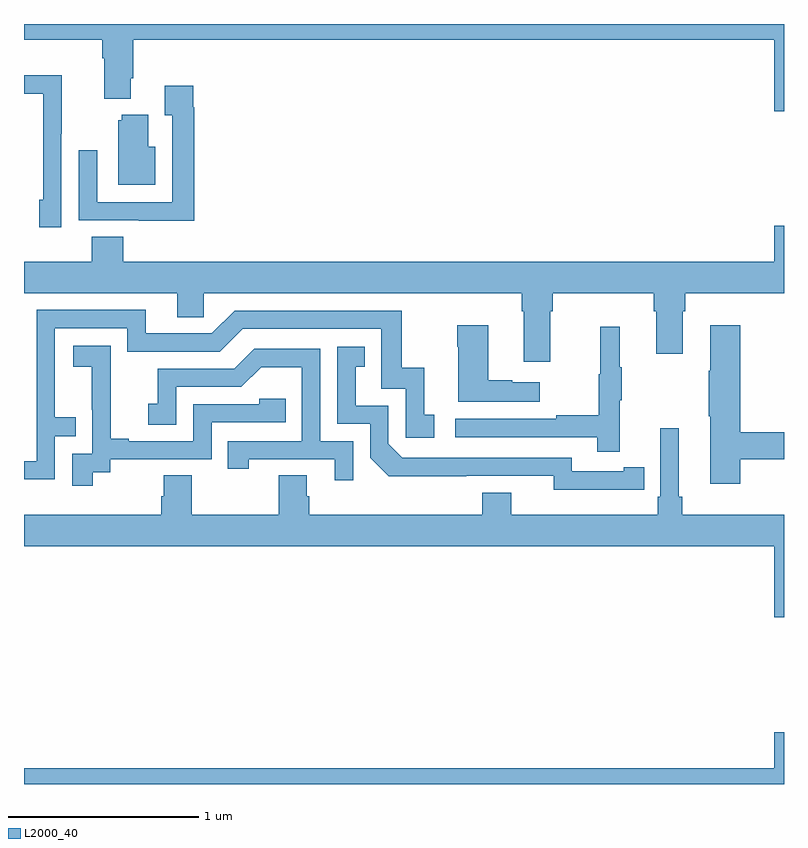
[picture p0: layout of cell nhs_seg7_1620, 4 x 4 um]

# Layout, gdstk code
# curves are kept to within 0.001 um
import gdstk
lib = gdstk.Library(unit=1e-6, precision=1e-09)
def P(c, l, *ps):  # polygons
    for p in ps: c.add(gdstk.Polygon(p, *l))
L2000_40 = (2000, 40)

nhs_seg7_1620 = lib.new_cell('nhs_seg7_1620')
P(nhs_seg7_1620, L2000_40, [(225,1034),(221,1034),(221,1033.916),(221.411,1033.916),(221.411,1033.82),(221.423,1033.82),(221.423,1033.607),(221.563,1033.607),(221.563,1033.714),(221.576,1033.714),(221.576,1033.916),(224.948,1033.916),(224.948,1033.542),(225,1033.542)],
  [(221.196,1033.423),(221.199,1033.423),(221.199,1033.73),(221,1033.73),(221,1033.632),(221.1,1033.632),(221.1,1033.074),(221.081,1033.074),(221.081,1032.93),(221.196,1032.93)],
  [(221.897,1033.562),(221.89,1033.562),(221.89,1033.675),(221.741,1033.675),(221.741,1033.519),(221.781,1033.519),(221.781,1033.062),(221.385,1033.062),(221.385,1033.336),(221.289,1033.336),(221.289,1032.966),(221.605,1032.966),(221.605,1032.965),(221.897,1032.965)],
  [(221.692,1033.354),(221.653,1033.354),(221.653,1033.522),(221.514,1033.522),(221.514,1033.494),(221.495,1033.494),(221.495,1033.154),(221.692,1033.154)],
  [(223.771,1032.488),(223.784,1032.488),(223.784,1032.584),(224.315,1032.584),(224.315,1032.488),(224.327,1032.488),(224.327,1032.264),(224.467,1032.264),(224.467,1032.488),(224.48,1032.488),(224.48,1032.584),(225,1032.584),(225,1032.937),(224.948,1032.937),(224.948,1032.748),(221.522,1032.748),(221.522,1032.881),(221.357,1032.881),(221.357,1032.748),(221,1032.748),(221,1032.584),(221.807,1032.584),(221.807,1032.457),(221.946,1032.457),(221.946,1032.584),(223.619,1032.584),(223.619,1032.488),(223.631,1032.488),(223.631,1032.222),(223.771,1032.222)],
  [(221.163,1031.829),(221.273,1031.829),(221.273,1031.93),(221.163,1031.93),(221.163,1032.399),(221.544,1032.399),(221.544,1032.276),(222.03,1032.276),(222.15,1032.396),(222.879,1032.396),(222.879,1032.081),(223.008,1032.081),(223.008,1031.823),(223.159,1031.823),(223.159,1031.943),(223.106,1031.943),(223.106,1032.19),(222.988,1032.19),(222.988,1032.492),(222.108,1032.492),(221.988,1032.372),(221.641,1032.372),(221.641,1032.495),(221.067,1032.495),(221.067,1031.7),(221,1031.7),(221,1031.604),(221.163,1031.604)],
  [(224.771,1031.71),(225,1031.71),(225,1031.852),(224.771,1031.852),(224.771,1032.415),(224.612,1032.415),(224.612,1032.176),(224.605,1032.176),(224.605,1031.935),(224.612,1031.935),(224.612,1031.58),(224.771,1031.58)],
  [(223.714,1032.115),(223.571,1032.115),(223.571,1032.125),(223.444,1032.125),(223.444,1032.415),(223.279,1032.415),(223.279,1032.302),(223.286,1032.302),(223.286,1032.011),(223.714,1032.011)],
  [(224.135,1032.019),(224.146,1032.019),(224.146,1032.193),(224.135,1032.193),(224.135,1032.406),(224.032,1032.406),(224.032,1032.156),(224.025,1032.156),(224.025,1031.942),(223.801,1031.942),(223.801,1031.922),(223.269,1031.922),(223.269,1031.826),(224.017,1031.826),(224.017,1031.748),(224.135,1031.748)],
  [(221.362,1031.641),(221.454,1031.641),(221.454,1031.709),(221.988,1031.709),(221.988,1031.904),(222.377,1031.904),(222.377,1032.027),(222.237,1032.027),(222.237,1032),(221.892,1032),(221.892,1031.805),(221.551,1031.805),(221.551,1031.818),(221.456,1031.818),(221.456,1032.101),(221.457,1032.101),(221.457,1032.307),(221.259,1032.307),(221.259,1032.197),(221.357,1032.197),(221.357,1031.969),(221.358,1031.969),(221.358,1031.739),(221.253,1031.739),(221.253,1031.571),(221.362,1031.571)],
  [(224.156,1031.55),(224.264,1031.55),(224.264,1031.666),(224.156,1031.666),(224.156,1031.646),(223.884,1031.646),(223.884,1031.718),(222.99,1031.718),(222.918,1031.79),(222.918,1031.991),(222.745,1031.991),(222.745,1032.195),(222.794,1032.195),(222.794,1032.301),(222.648,1032.301),(222.648,1031.895),(222.822,1031.895),(222.822,1031.718),(222.92,1031.621),(223.788,1031.622),(223.788,1031.549)],
  [(222.732,1031.805),(222.558,1031.805),(222.558,1032.291),(222.212,1032.291),(222.107,1032.186),(221.704,1032.186),(221.704,1032.001),(221.655,1032.001),(221.655,1031.892),(221.802,1031.892),(221.802,1032.09),(222.144,1032.09),(222.248,1032.194),(222.462,1032.194),(222.462,1031.805),(222.073,1031.805),(222.073,1031.658),(222.184,1031.658),(222.184,1031.709),(222.635,1031.709),(222.635,1031.598),(222.732,1031.598)],
  [(224.948,1030.878),(225,1030.878),(225,1031.416),(224.465,1031.416),(224.465,1031.512),(224.446,1031.512),(224.446,1031.872),(224.349,1031.872),(224.349,1031.512),(224.336,1031.512),(224.336,1031.416),(223.564,1031.416),(223.564,1031.533),(223.412,1031.533),(223.412,1031.416),(222.5,1031.416),(222.5,1031.514),(222.487,1031.514),(222.487,1031.624),(222.34,1031.624),(222.34,1031.416),(221.883,1031.416),(221.883,1031.624),(221.735,1031.624),(221.735,1031.514),(221.723,1031.514),(221.723,1031.416),(221,1031.416),(221,1031.252),(224.948,1031.252)],
  [(225,1030.273),(224.948,1030.273),(224.948,1030.084),(221,1030.084),(221,1030),(225,1030)])

lib.write_gds('nhs_seg7_1620.gds')
